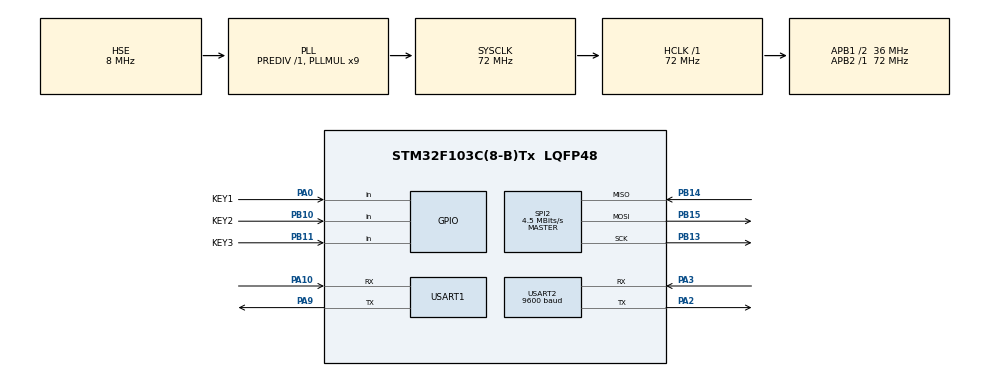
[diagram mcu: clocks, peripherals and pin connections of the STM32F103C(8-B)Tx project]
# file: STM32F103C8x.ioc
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Mcu.Family=STM32F1
Mcu.Name=STM32F103C(8-B)Tx
Mcu.Package=LQFP48
NVIC.PriorityGroup=NVIC_PRIORITYGROUP_4
NVIC.TIM2_IRQn=true\:1\:0\:true\:true\:true\:1\:true
NVIC.USART2_IRQn=true\:0\:0\:false\:true\:true\:2\:true
PA0-WKUP.GPIO_Label=KEY1
PA0-WKUP.GPIO_PuPd=GPIO_PULLUP
PA0-WKUP.Signal=GPIO_Input
PA10.Mode=Asynchronous
PA10.Signal=USART1_RX
PA13.Mode=Serial_Wire
PA13.Signal=SYS_JTMS-SWDIO
PA14.Mode=Serial_Wire
PA14.Signal=SYS_JTCK-SWCLK
PA2.Mode=Asynchronous
PA2.Signal=USART2_TX
PA3.Mode=Asynchronous
PA3.Signal=USART2_RX
PA9.Mode=Asynchronous
PA9.Signal=USART1_TX
PB10.GPIO_Label=KEY2
PB10.GPIO_PuPd=GPIO_PULLUP
PB10.Signal=GPIO_Input
PB11.GPIO_Label=KEY3
PB11.GPIO_PuPd=GPIO_PULLUP
PB11.Signal=GPIO_Input
PB13.Mode=Full_Duplex_Master
PB13.Signal=SPI2_SCK
PB14.Mode=Full_Duplex_Master
PB14.Signal=SPI2_MISO
PB15.Mode=Full_Duplex_Master
PB15.Signal=SPI2_MOSI
PD0-OSC_IN.Mode=HSE-External-Oscillator
PD0-OSC_IN.Signal=RCC_OSC_IN
PD1-OSC_OUT.Mode=HSE-External-Oscillator
PD1-OSC_OUT.Signal=RCC_OSC_OUT
ProjectManager.HeapSize=0x800
ProjectManager.StackSize=0x2000
ProjectManager.TargetToolchain=MDK-ARM V4
RCC.AHBFreq_Value=72000000
RCC.APB1CLKDivider=RCC_HCLK_DIV2
RCC.APB1Freq_Value=36000000
RCC.APB1TimFreq_Value=72000000
RCC.APB2Freq_Value=72000000
RCC.APB2TimFreq_Value=72000000
RCC.HCLKFreq_Value=72000000
RCC.PLLMUL=RCC_PLL_MUL9
RCC.PLLSourceVirtual=RCC_PLLSOURCE_HSE
RCC.SYSCLKFreq_VALUE=72000000
RCC.SYSCLKSource=RCC_SYSCLKSOURCE_PLLCLK
RCC.USBFreq_Value=72000000
SPI2.BaudRatePrescaler=SPI_BAUDRATEPRESCALER_8
SPI2.CRCCalculation=SPI_CRCCALCULATION_ENABLE
SPI2.CalculateBaudRate=4.5 MBits/s
SPI2.Direction=SPI_DIRECTION_2LINES
SPI2.Mode=SPI_MODE_MASTER
SPI2.VirtualType=VM_MASTER
TIM2.Period=10-1
TIM2.Prescaler=7200-1
USART1.VirtualMode=VM_ASYNC
USART2.BaudRate=9600
USART2.VirtualMode=VM_ASYNC
VP_TIM2_VS_ClockSourceINT.Mode=Internal
board=STM32F103C8x

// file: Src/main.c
/**
  ******************************************************************************
  * File Name          : main.c
  * Description        : Main program body
  ******************************************************************************
  ** This notice applies to any and all portions of this file
  * that are not between comment pairs USER CODE BEGIN and
  * USER CODE END. Other portions of this file, whether
  * inserted by the user or by software development tools
  * are owned by their respective copyright owners.
  *
  * COPYRIGHT(c) 2017 STMicroelectronics
  *
  * Redistribution and use in source and binary forms, with or without modification,
  * are permitted provided that the following conditions are met:
  *   1. Redistributions of source code must retain the above copyright notice,
  *      this list of conditions and the following disclaimer.
  *   2. Redistributions in binary form must reproduce the above copyright notice,
  *      this list of conditions and the following disclaimer in the documentation
  *      and/or other materials provided with the distribution.
  *   3. Neither the name of STMicroelectronics nor the names of its contributors
  *      may be used to endorse or promote products derived from this software
  *      without specific prior written permission.
  *
  * THIS SOFTWARE IS PROVIDED BY THE COPYRIGHT HOLDERS AND CONTRIBUTORS "AS IS"
  * AND ANY EXPRESS OR IMPLIED WARRANTIES, INCLUDING, BUT NOT LIMITED TO, THE
  * IMPLIED WARRANTIES OF MERCHANTABILITY AND FITNESS FOR A PARTICULAR PURPOSE ARE
  * DISCLAIMED. IN NO EVENT SHALL THE COPYRIGHT HOLDER OR CONTRIBUTORS BE LIABLE
  * FOR ANY DIRECT, INDIRECT, INCIDENTAL, SPECIAL, EXEMPLARY, OR CONSEQUENTIAL
  * DAMAGES (INCLUDING, BUT NOT LIMITED TO, PROCUREMENT OF SUBSTITUTE GOODS OR
  * SERVICES; LOSS OF USE, DATA, OR PROFITS; OR BUSINESS INTERRUPTION) HOWEVER
  * CAUSED AND ON ANY THEORY OF LIABILITY, WHETHER IN CONTRACT, STRICT LIABILITY,
  * OR TORT (INCLUDING NEGLIGENCE OR OTHERWISE) ARISING IN ANY WAY OUT OF THE USE
  * OF THIS SOFTWARE, EVEN IF ADVISED OF THE POSSIBILITY OF SUCH DAMAGE.
  *
  ******************************************************************************
  */

#include "main.h"
#include "stm32f1xx_hal.h"

/* USER CODE BEGIN Includes */
#include "Hal_key/hal_key.h"
#include "gizwits_product.h"
#include "common.h"
#include "Hal_led/hal_led.h"
#include "Hal_nrf24l01/Hal_nrf24l01.h"
#include "Hal_relay/Hal_relay.h"

/* USER CODE END Includes */

SPI_HandleTypeDef hspi2;

TIM_HandleTypeDef htim2;

UART_HandleTypeDef huart1;
UART_HandleTypeDef huart2;

/* USER CODE BEGIN PV */
/* Private variables ---------------------------------------------------------*/
#define GPIO_KEY_NUM 3 ///< Defines the total number of key member
keyTypedef_t singleKey[GPIO_KEY_NUM]; ///< Defines a single key member array pointer
keysTypedef_t keys;

uint8_t tx_tmp_buf[32];	//cmd to subset
/* ID    light water_heater   tv   curtain  air_condition  music  window   switch
**  4B    9B      1B          1B     1B      5B             3B      5B      3B
light1 controled by home assistant
*/
uint8_t rx_tmp_buf[32];//subsets status to home assistant
/* USER CODE END PV */

void SystemClock_Config(void);
static void MX_GPIO_Init(void);
static void MX_TIM2_Init(void);
static void MX_USART1_UART_Init(void);
static void MX_USART2_UART_Init(void);
static void MX_SPI2_Init(void);
static void MX_NVIC_Init(void);

/* USER CODE BEGIN PFP */
/* Private function prototypes -----------------------------------------------*/

void rx_data_pro(void);
/* USER CODE END PFP */

/* USER CODE BEGIN 0 */
/**
* key1 short press handle
* @param none
* @return none
*/
void key1ShortPress(void)
{
    GIZWITS_LOG("KEY1 PRESS ,Production Mode\n");
    gizwitsSetMode(WIFI_PRODUCTION_TEST);
}

/**
* key1 long press handle
* @param none
* @return none
*/
void key1LongPress(void)
{
    GIZWITS_LOG("KEY1 PRESS LONG ,Wifi Reset\n");
    gizwitsSetMode(WIFI_RESET_MODE);

}

/**
* key2 short press handle
* @param none
* @return none
*/
void key2ShortPress(void)
{
    GIZWITS_LOG("KEY2 PRESS ,Soft AP mode\n");
	led_off(0);
    #if !MODULE_TYPE
    gizwitsSetMode(WIFI_SOFTAP_MODE);
    #endif
}

/**
* key2 long press handle
* @param none
* @return none
*/
void key2LongPress(void)
{
    //AirLink mode
    GIZWITS_LOG("KEY2 PRESS LONG ,AirLink mode\n");
	led_on(0);
    #if !MODULE_TYPE
    gizwitsSetMode(WIFI_AIRLINK_MODE);
    #endif
}

/**
* key3 short press handle
* @param none
* @return none
*/
void key3ShortPress(void)
{
    GIZWITS_LOG("KEY3 PRESS ,led_color custom\n");
	HAL_GPIO_TogglePin(relay0_gpio, relay0_pin);
	if(HAL_GPIO_ReadPin(relay0_gpio, relay0_pin))
		{currentDataPoint.valuelight1 = 0x01;}
	else	{currentDataPoint.valuelight1 = 0x00;}
//    ledon(0);ledon(1);
//	currentDataPoint.valueLED_Color = LED_Color_VALUE0;
}

/**
* key3 long press handle
* @param none
* @return none
*/
void key3LongPress(void)
{
    GIZWITS_LOG("KEY3 PRESS LONG ,led_color yellow\n");
//    led_on(0);led_off(1);
//	currentDataPoint.valueLED_Color = LED_Color_VALUE1;
}

/**
* key4 short press handle
* @param none
* @return none
*/
void key4ShortPress(void)
{
    GIZWITS_LOG("KEY4 PRESS ,led_color red\n");
//    led_off(0);led_on(1);
//	currentDataPoint.valueLED_Color = LED_Color_VALUE2;
}

/**
* key4 long press handle
* @param none
* @return none
*/
void key4LongPress(void)
{
    GIZWITS_LOG("KEY4 PRESS LONG ,led_color blue\n");
//    led_off(0);led_off(1);
//	currentDataPoint.valueLED_Color = LED_Color_VALUE3;
}

/**
* Key init function
* @param none
* @return none
*/
void keyInit(void)
{
    singleKey[0] = keyInitOne(NULL, KEY1_GPIO_Port, KEY1_Pin, key1ShortPress, key1LongPress);
    singleKey[1] = keyInitOne(NULL, KEY2_GPIO_Port, KEY2_Pin, key2ShortPress, key2LongPress);
	singleKey[2] = keyInitOne(NULL, KEY3_GPIO_Port, KEY3_Pin, key3ShortPress, key3LongPress);
    keys.singleKey = (keyTypedef_t *)&singleKey;
    keyParaInit(&keys);
}
/* USER CODE END 0 */

int main(void)
{

  /* USER CODE BEGIN 1 */
	uint8_t i=0;
  /* USER CODE END 1 */

  /* MCU Configuration----------------------------------------------------------*/

  /* Reset of all peripherals, Initializes the Flash interface and the Systick. */
  HAL_Init();

  /* Configure the system clock */
  SystemClock_Config();

  /* Initialize all configured peripherals */
  MX_GPIO_Init();
  MX_TIM2_Init();
  MX_USART1_UART_Init();
  MX_USART2_UART_Init();
  MX_SPI2_Init();

  /* Initialize interrupts */
  MX_NVIC_Init();

  /* USER CODE BEGIN 2 */
	timerInit();
	uartInit();

	userInit();
	gizwitsInit();
	keyInit();
	ledGpioInit();
	relayGpioInit();
	NRF24L01_Init();
	NRF24L01_RX_Mode();
	GIZWITS_LOG("MCU Init Success \n");

  /* USER CODE END 2 */

  /* Infinite loop */
  /* USER CODE BEGIN WHILE */
  while (1)
  {
//  	  printf("111");
// 	  while(NRF24L01_Check())
// 	  {printf("24l01 error\n");}
  /* USER CODE END WHILE */
// 				NRF24L01_TX_Mode();
// 		NRF24L01_TxPacket(tx_tmp_buf);
// 	  printf("222");
// 		NRF24L01_RX_Mode();
  /* USER CODE BEGIN 3 */
		userHandle();
		gizwitsHandle((dataPoint_t *)&currentDataPoint);

//		huart2.Instance->DR = (0x31 & (uint16_t)0x01FF);

	  if(NRF24L01_RxPacket(rx_tmp_buf) == 0)	//一旦接收到消息，则显示出来
	  {
		rx_data_pro();
	  }
  }
  /* USER CODE END 3 */

}

/* USER CODE BEGIN 4 */
uint8_t subset_data_change_check(void)
{
	uint8_t state = 0;
    if(rx_tmp_buf[3] == 1) //subset 1
    {
		currentDataPoint.valuelight2 = rx_tmp_buf[5];
		currentDataPoint.valuelight3 = rx_tmp_buf[6];
        state = 1;
    }

    if(state)
    {
        state = 0;
        printf("subset1 data changed!\r\n");   //
        return 1;   //control data change
    }
    else
    {
        printf("subset1 data not changed!\r\n");   //
        return 0;   //control data not change
    }
}

/* ??????????,?????? */
void rx_data_pro(void)
{
	uint8_t	state;

    printf("%s\r\n",rx_tmp_buf);   //????????

    state = subset_data_change_check();
    if(state)   //report change to home assistant
    {
        state = 0;
    }
}

/* USER CODE END 4 */

/** System Clock Configuration
*/
void SystemClock_Config(void)
{

  RCC_OscInitTypeDef RCC_OscInitStruct;
  RCC_ClkInitTypeDef RCC_ClkInitStruct;

    /**Initializes the CPU, AHB and APB busses clocks
    */
  RCC_OscInitStruct.OscillatorType = RCC_OSCILLATORTYPE_HSE;
  RCC_OscInitStruct.HSEState = RCC_HSE_ON;
  RCC_OscInitStruct.HSEPredivValue = RCC_HSE_PREDIV_DIV1;
  RCC_OscInitStruct.HSIState = RCC_HSI_ON;
  RCC_OscInitStruct.PLL.PLLState = RCC_PLL_ON;
  RCC_OscInitStruct.PLL.PLLSource = RCC_PLLSOURCE_HSE;
  RCC_OscInitStruct.PLL.PLLMUL = RCC_PLL_MUL9;
  if (HAL_RCC_OscConfig(&RCC_OscInitStruct) != HAL_OK)
  {
    _Error_Handler(__FILE__, __LINE__);
  }

    /**Initializes the CPU, AHB and APB busses clocks
    */
  RCC_ClkInitStruct.ClockType = RCC_CLOCKTYPE_HCLK|RCC_CLOCKTYPE_SYSCLK
                              |RCC_CLOCKTYPE_PCLK1|RCC_CLOCKTYPE_PCLK2;
  RCC_ClkInitStruct.SYSCLKSource = RCC_SYSCLKSOURCE_PLLCLK;
  RCC_ClkInitStruct.AHBCLKDivider = RCC_SYSCLK_DIV1;
  RCC_ClkInitStruct.APB1CLKDivider = RCC_HCLK_DIV2;
  RCC_ClkInitStruct.APB2CLKDivider = RCC_HCLK_DIV1;

  if (HAL_RCC_ClockConfig(&RCC_ClkInitStruct, FLASH_LATENCY_2) != HAL_OK)
  {
    _Error_Handler(__FILE__, __LINE__);
  }

    /**Configure the Systick interrupt time
    */
  HAL_SYSTICK_Config(HAL_RCC_GetHCLKFreq()/1000);

    /**Configure the Systick
    */
  HAL_SYSTICK_CLKSourceConfig(SYSTICK_CLKSOURCE_HCLK);

  /* SysTick_IRQn interrupt configuration */
  HAL_NVIC_SetPriority(SysTick_IRQn, 0, 0);
}

/** NVIC Configuration
*/
static void MX_NVIC_Init(void)
{
  /* TIM2_IRQn interrupt configuration */
  HAL_NVIC_SetPriority(TIM2_IRQn, 1, 0);
  HAL_NVIC_EnableIRQ(TIM2_IRQn);
  /* USART2_IRQn interrupt configuration */
  HAL_NVIC_SetPriority(USART2_IRQn, 0, 0);
  HAL_NVIC_EnableIRQ(USART2_IRQn);
}

/* SPI2 init function */
static void MX_SPI2_Init(void)
{

  /* SPI2 parameter configuration*/
  hspi2.Instance = SPI2;
  hspi2.Init.Mode = SPI_MODE_MASTER;
  hspi2.Init.Direction = SPI_DIRECTION_2LINES;
  hspi2.Init.DataSize = SPI_DATASIZE_8BIT;
  hspi2.Init.CLKPolarity = SPI_POLARITY_LOW;
  hspi2.Init.CLKPhase = SPI_PHASE_1EDGE;
  hspi2.Init.NSS = SPI_NSS_SOFT;
  hspi2.Init.BaudRatePrescaler = SPI_BAUDRATEPRESCALER_16;
  hspi2.Init.FirstBit = SPI_FIRSTBIT_MSB;
  hspi2.Init.TIMode = SPI_TIMODE_DISABLE;
  hspi2.Init.CRCCalculation = SPI_CRCCALCULATION_DISABLE;
  hspi2.Init.CRCPolynomial = 7;
  if (HAL_SPI_Init(&hspi2) != HAL_OK)
  {
    _Error_Handler(__FILE__, __LINE__);
  }

}

/* TIM2 init function */
static void MX_TIM2_Init(void)
{

  TIM_ClockConfigTypeDef sClockSourceConfig;
  TIM_MasterConfigTypeDef sMasterConfig;

  htim2.Instance = TIM2;
  htim2.Init.Prescaler = 7200-1;
  htim2.Init.CounterMode = TIM_COUNTERMODE_UP;
  htim2.Init.Period = 10-1;
  htim2.Init.ClockDivision = TIM_CLOCKDIVISION_DIV1;
  htim2.Init.AutoReloadPreload = TIM_AUTORELOAD_PRELOAD_DISABLE;
  if (HAL_TIM_Base_Init(&htim2) != HAL_OK)
  {
    _Error_Handler(__FILE__, __LINE__);
  }

  sClockSourceConfig.ClockSource = TIM_CLOCKSOURCE_INTERNAL;
  if (HAL_TIM_ConfigClockSource(&htim2, &sClockSourceConfig) != HAL_OK)
  {
    _Error_Handler(__FILE__, __LINE__);
  }

  sMasterConfig.MasterOutputTrigger = TIM_TRGO_RESET;
  sMasterConfig.MasterSlaveMode = TIM_MASTERSLAVEMODE_DISABLE;
  if (HAL_TIMEx_MasterConfigSynchronization(&htim2, &sMasterConfig) != HAL_OK)
  {
    _Error_Handler(__FILE__, __LINE__);
  }

}

/* USART1 init function */
static void MX_USART1_UART_Init(void)
{

  huart1.Instance = USART1;
  huart1.Init.BaudRate = 115200;
  huart1.Init.WordLength = UART_WORDLENGTH_8B;
  huart1.Init.StopBits = UART_STOPBITS_1;
  huart1.Init.Parity = UART_PARITY_NONE;
  huart1.Init.Mode = UART_MODE_TX_RX;
  huart1.Init.HwFlowCtl = UART_HWCONTROL_NONE;
  huart1.Init.OverSampling = UART_OVERSAMPLING_16;
  if (HAL_UART_Init(&huart1) != HAL_OK)
  {
    _Error_Handler(__FILE__, __LINE__);
  }

}

/* USART2 init function */
static void MX_USART2_UART_Init(void)
{

  huart2.Instance = USART2;
  huart2.Init.BaudRate = 9600;
  huart2.Init.WordLength = UART_WORDLENGTH_8B;
  huart2.Init.StopBits = UART_STOPBITS_1;
  huart2.Init.Parity = UART_PARITY_NONE;
  huart2.Init.Mode = UART_MODE_TX_RX;
  huart2.Init.HwFlowCtl = UART_HWCONTROL_NONE;
  huart2.Init.OverSampling = UART_OVERSAMPLING_16;
  if (HAL_UART_Init(&huart2) != HAL_OK)
  {
    _Error_Handler(__FILE__, __LINE__);
  }

}

/** Configure pins as
        * Analog
        * Input
        * Output
        * EVENT_OUT
        * EXTI
*/
static void MX_GPIO_Init(void)
{

  GPIO_InitTypeDef GPIO_InitStruct;

  /* GPIO Ports Clock Enable */
  __HAL_RCC_GPIOD_CLK_ENABLE();
  __HAL_RCC_GPIOA_CLK_ENABLE();
  __HAL_RCC_GPIOB_CLK_ENABLE();

  /*Configure GPIO pin : KEY1_Pin */
  GPIO_InitStruct.Pin = KEY1_Pin;
  GPIO_InitStruct.Mode = GPIO_MODE_INPUT;
  GPIO_InitStruct.Pull = GPIO_PULLUP;
  HAL_GPIO_Init(KEY1_GPIO_Port, &GPIO_InitStruct);

  /*Configure GPIO pins : KEY2_Pin KEY3_Pin */
  GPIO_InitStruct.Pin = KEY2_Pin|KEY3_Pin;
  GPIO_InitStruct.Mode = GPIO_MODE_INPUT;
  GPIO_InitStruct.Pull = GPIO_PULLUP;
  HAL_GPIO_Init(GPIOB, &GPIO_InitStruct);

}

void _Error_Handler(char * file, int line)
{
  while(1)
  {
  }
}

/************************ (C) COPYRIGHT STMicroelectronics *****END OF FILE****/
